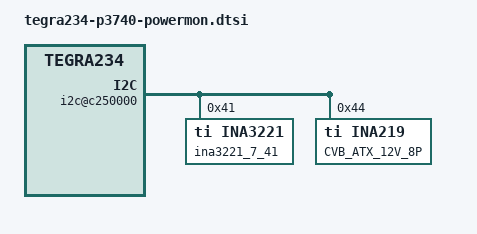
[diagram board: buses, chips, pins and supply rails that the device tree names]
/*
 * Copyright (c) 2022, NVIDIA CORPORATION.  All rights reserved.
 *
 * This program is free software; you can redistribute it and/or modify
 * it under the terms of the GNU General Public License as published by
 * the Free Software Foundation; version 2 of the License.
 *
 * This program is distributed in the hope that it will be useful, but WITHOUT
 * ANY WARRANTY; without even the implied warranty of MERCHANTABILITY or
 * FITNESS FOR A PARTICULAR PURPOSE.  See the GNU General Public License for
 * more details.
 */

/ {
	i2c@c250000 {
		ina3221_7_41: ina3221@41 {
			compatible = "ti,ina3221";
			reg = <0x41>;
			#address-cells = <1>;
			#size-cells = <0>;
			#io-channel-cells = <1>;
			channel@0 {
				reg = <0x0>;
				label = "CVB_ATX_12V";
				shunt-resistor-micro-ohms = <2000>;
			};
			channel@1 {
				reg = <0x1>;
				label = "CVB_ATX_3V3";
				shunt-resistor-micro-ohms = <2000>;
			};
			channel@2 {
				reg = <0x2>;
				label = "CVB_ATX_5V";
				shunt-resistor-micro-ohms = <2000>;
			};
		};

		ina219_7_44: ina219@44 {
			compatible = "ti,ina219";
			reg = <0x44>;
			shunt-resistor = <2000>;
                        label = "CVB_ATX_12V_8P";
		};
	};
};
